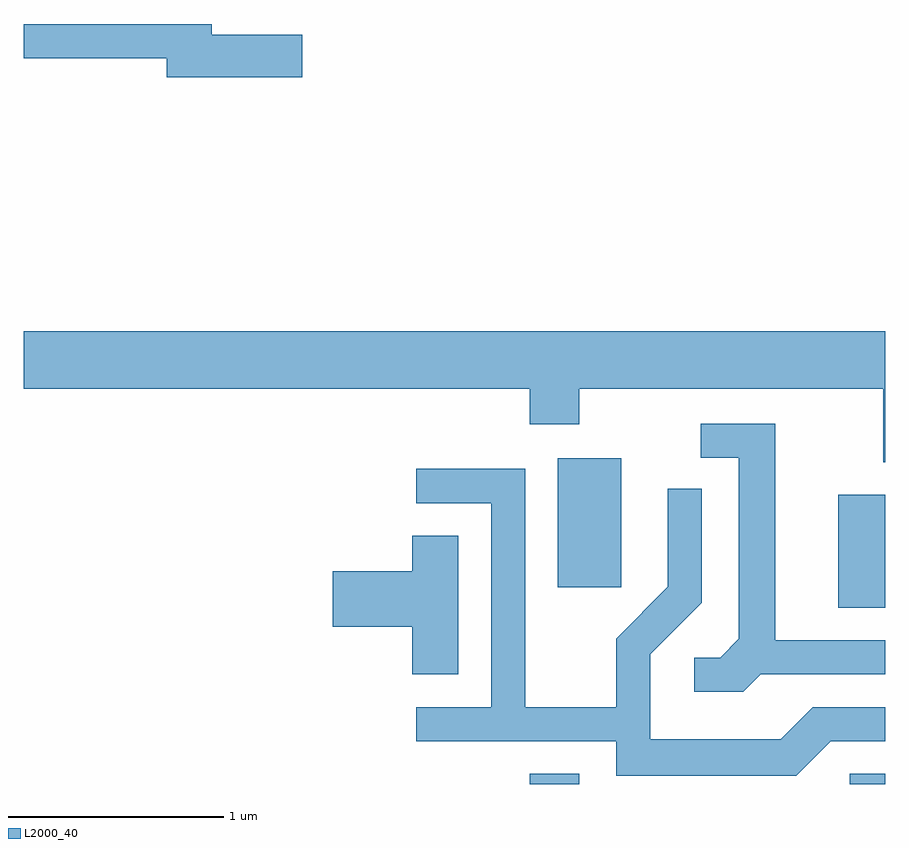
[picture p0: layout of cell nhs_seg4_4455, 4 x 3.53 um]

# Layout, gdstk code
import gdstk
lib = gdstk.Library(unit=1e-6, precision=1e-09)
def R(c, l, rs):  # rectangles x0, y0, x1, y1
    for r in rs: c.add(gdstk.rectangle(r[:2], r[2:], *l))
def P(c, l, *ps):  # polygons
    for p in ps: c.add(gdstk.Polygon(p, *l))
L2000_40 = (2000, 40)

nhs_seg4_4455 = lib.new_cell('nhs_seg4_4455')
R(nhs_seg4_4455, L2000_40, [(317.961,1323.982,318.189,1324.029), (319.446,1323.982,319.611,1324.029), (319.391,1324.801,319.611,1325.324), (318.091,1324.896,318.384,1325.494)])
P(nhs_seg4_4455, L2000_40, [(316.904,1327.459),(316.484,1327.459),(316.484,1327.509),(315.611,1327.509),(315.611,1327.351),(316.276,1327.351),(316.276,1327.261),(316.904,1327.261)],
  [(319.611,1326.084),(315.611,1326.084),(315.611,1325.816),(317.961,1325.816),(317.961,1325.651),(318.189,1325.651),(318.189,1325.816),(319.601,1325.816),(319.601,1325.476),(319.611,1325.476)],
  [(319.032,1324.491),(319.611,1324.491),(319.611,1324.649),(319.099,1324.649),(319.099,1325.654),(318.753,1325.654),(318.753,1325.496),(318.931,1325.496),(318.931,1324.657),(318.844,1324.569),(318.723,1324.569),(318.723,1324.411),(318.952,1324.411)],
  [(319.357,1324.181),(319.611,1324.181),(319.611,1324.339),(319.274,1324.339),(319.124,1324.189),(318.519,1324.189),(318.519,1324.584),(318.759,1324.824),(318.759,1325.353),(318.601,1325.353),(318.601,1324.897),(318.361,1324.657),(318.361,1324.339),(317.939,1324.339),(317.939,1325.444),(317.433,1325.444),(317.433,1325.286),(317.781,1325.286),(317.781,1324.339),(317.433,1324.339),(317.433,1324.181),(318.361,1324.181),(318.361,1324.021),(319.197,1324.021)],
  [(317.629,1325.134),(317.416,1325.134),(317.416,1324.969),(317.046,1324.969),(317.046,1324.711),(317.416,1324.711),(317.416,1324.491),(317.629,1324.491)])

lib.write_gds('nhs_seg4_4455.gds')
